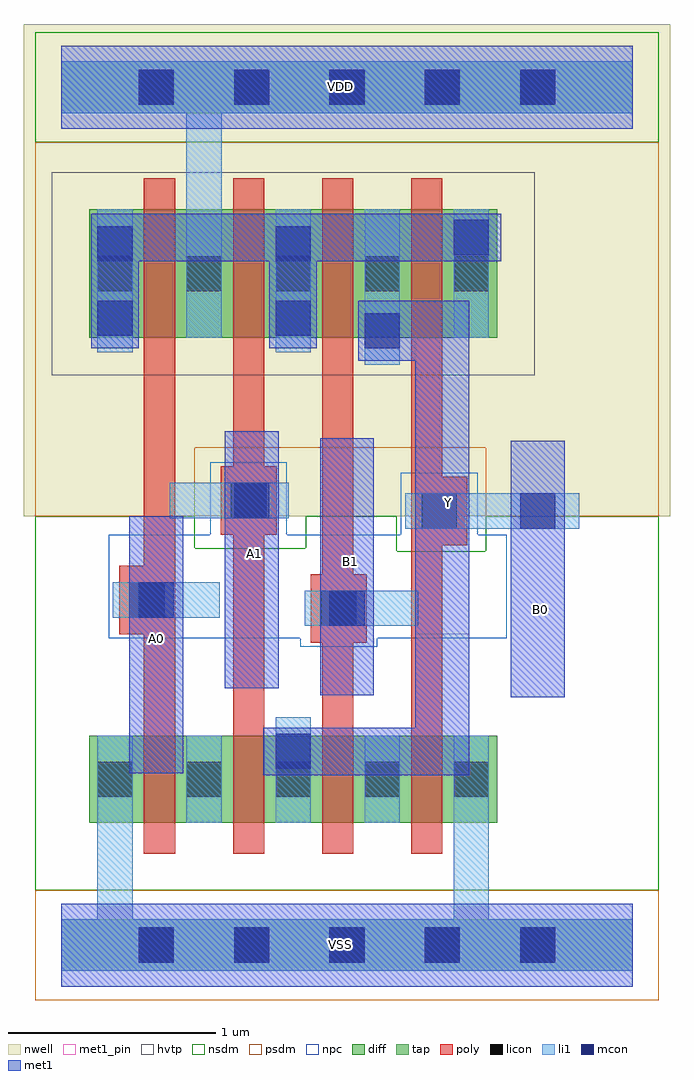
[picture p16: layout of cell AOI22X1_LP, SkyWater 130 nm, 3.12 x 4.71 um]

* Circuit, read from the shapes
.subckt AOI22X1_LP A0 A1 B0 B1 VDD VSS Y
XM1 n1 A0 VSS VSS sky130_fd_pr__nfet_01v8 w=0.42 l=0.15
XM2 Y A1 n1 VSS sky130_fd_pr__nfet_01v8 w=0.42 l=0.15
XM3 n2 B1 Y VSS sky130_fd_pr__nfet_01v8 w=0.42 l=0.15
XM4 VSS B0 n2 VSS sky130_fd_pr__nfet_01v8 w=0.42 l=0.15
XM5 VDD A0 n3 VDD sky130_fd_pr__pfet_01v8_hvt w=0.62 l=0.15
XM6 n3 A1 VDD VDD sky130_fd_pr__pfet_01v8_hvt w=0.62 l=0.15
XM7 Y B1 n3 VDD sky130_fd_pr__pfet_01v8_hvt w=0.62 l=0.15
XM8 n3 B0 Y VDD sky130_fd_pr__pfet_01v8_hvt w=0.62 l=0.15
.ends

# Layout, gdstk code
import gdstk
lib = gdstk.Library(unit=1e-6, precision=1e-09)
def R(c, l, rs):  # rectangles x0, y0, x1, y1
    for r in rs: c.add(gdstk.rectangle(r[:2], r[2:], *l))
def A(c, l, x, y, w, h, nx, ny, dx, dy):  # array of equal rectangles
    R(c, l, [(x+i*dx, y+j*dy, x+i*dx+w, y+j*dy+h) for i in range(nx) for j in range(ny)])
def P(c, l, *ps):  # polygons
    for p in ps: c.add(gdstk.Polygon(p, *l))
nwell = (64, 20)
diff = (65, 20)
tap = (65, 44)
poly = (66, 20)
licon = (66, 44)
li1 = (67, 20)
mcon = (67, 44)
met1_pin = (68, 16)
met1 = (68, 20)
hvtp = (78, 44)
nsdm = (93, 44)
psdm = (94, 20)
npc = (95, 20)

l1m1_c_cdns_750721840971 = lib.new_cell('L1M1_C_CDNS_750721840971')
R(l1m1_c_cdns_750721840971, li1, [(-0.085,-0.165,0.085,0.165)])
R(l1m1_c_cdns_750721840971, mcon, [(-0.085,-0.085,0.085,0.085)])
R(l1m1_c_cdns_750721840971, met1, [(-0.115,-0.145,0.115,0.145)])

c_l1m1_c_cdns_750721840971 = lib.new_cell('L1M1_C_CDNS_7507218409710')
R(c_l1m1_c_cdns_750721840971, li1, [(-0.085,-0.165,0.085,0.165)])
R(c_l1m1_c_cdns_750721840971, mcon, [(-0.085,-0.085,0.085,0.085)])
R(c_l1m1_c_cdns_750721840971, met1, [(-0.145,-0.115,0.145,0.115)])

licondiff_c_cdns_7507218 = lib.new_cell('LICONDIFF_C_CDNS_750721840974')
R(licondiff_c_cdns_7507218, diff, [(-0.125,-0.145,0.125,0.145)])
R(licondiff_c_cdns_7507218, licon, [(-0.085,-0.085,0.085,0.085), (-0.085,-0.085,0.085,0.085)])

pyl1con_c_cdns_750721840 = lib.new_cell('PYL1CON_C_CDNS_750721840972')
R(pyl1con_c_cdns_750721840, poly, [(-0.135,-0.165,0.135,0.165)])
R(pyl1con_c_cdns_750721840, licon, [(-0.085,-0.085,0.085,0.085)])
R(pyl1con_c_cdns_750721840, npc, [(-0.185,-0.185,0.185,0.185)])

c_l1m1_c_cdns_750721840971_ = lib.new_cell('L1M1_C_CDNS_7507218409713')
R(c_l1m1_c_cdns_750721840971_, li1, [(-0.085,-0.085,0.085,0.085)])
R(c_l1m1_c_cdns_750721840971_, mcon, [(-0.085,-0.085,0.085,0.085)])
R(c_l1m1_c_cdns_750721840971_, met1, [(-0.145,-0.115,0.145,0.115)])

l1m1_c_cdns_750721840973 = lib.new_cell('L1M1_C_CDNS_750721840973')
R(l1m1_c_cdns_750721840973, li1, [(-0.165,-0.085,0.165,0.085)])
R(l1m1_c_cdns_750721840973, mcon, [(-0.085,-0.085,0.085,0.085)])
R(l1m1_c_cdns_750721840973, met1, [(-0.115,-0.145,0.115,0.145)])

l1m1_c_cdns_750721840975 = lib.new_cell('L1M1_C_CDNS_750721840975')
R(l1m1_c_cdns_750721840975, li1, [(-0.085,-0.345,0.085,0.345)])
R(l1m1_c_cdns_750721840975, mcon, [(-0.085,-0.265,0.085,-0.095), (-0.085,0.095,0.085,0.265)])
R(l1m1_c_cdns_750721840975, met1, [(-0.115,-0.325,0.115,0.325)])

aoi22x1_lp = lib.new_cell('AOI22X1_LP')
R(aoi22x1_lp, nwell, [(-0.18,2.07,2.94,4.305), (-0.045,2.75,0.955,3.73), (0.595,2.75,1.385,3.73), (1.025,2.75,1.815,3.73), (1.455,2.75,2.285,3.73), (-0.18,3.875,2.94,4.445)])
A(aoi22x1_lp, diff, 0.4, 0.59, 0.15, 0.42, 4, 1, 0.43, 0)
A(aoi22x1_lp, diff, 0.4, 2.93, 0.15, 0.62, 4, 1, 0.43, 0)
A(aoi22x1_lp, diff, 0.55, 2.93, 0.225, 0.62, 3, 1, 0.43, 0)
A(aoi22x1_lp, diff, 0.775, 2.93, 0.055, 0.62, 3, 1, 0.43, 0)
R(aoi22x1_lp, diff, [(0.135,0.59,0.4,1.01), (0.55,0.59,0.605,1.01), (0.605,0.59,0.83,1.01), (0.98,0.59,1.205,1.01), (1.205,0.59,1.26,1.01), (1.41,0.59,1.635,1.01), (1.635,0.59,1.69,1.01), (1.84,0.59,2.105,1.01), (0.135,2.93,0.4,3.55), (1.84,2.93,2.105,3.55)])
A(aoi22x1_lp, poly, 0.4, 0.44, 0.15, 0.055, 4, 2, 0.43, 0.665)
A(aoi22x1_lp, poly, 0.4, 0.495, 0.15, 0.095, 4, 2, 0.43, 0.515)
A(aoi22x1_lp, poly, 0.4, 0.59, 0.15, 0.42, 4, 1, 0.43, 0)
A(aoi22x1_lp, poly, 0.4, 2.78, 0.15, 0.055, 4, 2, 0.43, 0.865)
A(aoi22x1_lp, poly, 0.4, 2.835, 0.15, 0.095, 4, 2, 0.43, 0.715)
A(aoi22x1_lp, poly, 0.4, 2.93, 0.15, 0.62, 4, 1, 0.43, 0)
A(aoi22x1_lp, licon, 0.375, -0.085, 0.17, 0.17, 5, 2, 0.46, 4.14)
A(aoi22x1_lp, licon, 0.175, 0.715, 0.17, 0.17, 3, 1, 0.86, 0)
A(aoi22x1_lp, licon, 0.175, 3.155, 0.17, 0.17, 5, 1, 0.43, 0)
A(aoi22x1_lp, li1, 0.175, 0.59, 0.17, 0.42, 3, 1, 0.86, 0)
A(aoi22x1_lp, li1, 0.175, 2.93, 0.17, 0.62, 5, 1, 0.43, 0)
A(aoi22x1_lp, mcon, 0.375, -0.085, 0.17, 0.17, 5, 2, 0.46, 4.14)
R(aoi22x1_lp, met1_pin, [(0.33,0.83,0.59,2.07), (2.17,1.195,2.43,2.435), (1.25,1.205,1.51,2.445), (0.79,1.24,1.05,2.48), (1.71,1.5,1.97,3.11)])
R(aoi22x1_lp, met1, [(1.435,2.82,1.97,3.11)])
R(aoi22x1_lp, hvtp, [(-0.045,2.75,0.955,3.73), (0.595,2.75,1.385,3.73), (1.025,2.75,1.815,3.73), (1.455,2.75,2.285,3.73)])
R(aoi22x1_lp, nsdm, [(-0.005,0.46,0.615,1.14), (0.595,0.46,1.215,1.14), (1.195,0.46,1.645,1.14), (1.625,0.46,2.245,1.14), (-0.125,3.875,2.885,4.405), (-0.125,3.93,2.885,4.35)])
P(aoi22x1_lp, nsdm, [(2.885,2.07),(2.05,2.07),(2.05,1.9),(1.62,1.9),(1.62,2.07),(1.18,2.07),(1.18,1.915),(0.645,1.915),(0.645,2.07),(-0.125,2.07),(-0.125,0.265),(2.885,0.265)])
R(aoi22x1_lp, psdm, [(-0.125,-0.265,2.885,0.265), (-0.125,-0.21,2.885,0.21), (-0.005,2.8,0.785,3.68), (0.765,2.8,1.215,3.68), (1.195,2.8,1.645,3.68), (1.625,2.8,2.245,3.68)])
P(aoi22x1_lp, psdm, [(2.885,3.875),(-0.125,3.875),(-0.125,2.07),(0.645,2.07),(0.645,2.4),(2.05,2.4),(2.05,2.07),(2.885,2.07)])
R(aoi22x1_lp, npc, [(0.23,1.48,2.15,1.98)])
aoi22x1_lp.add(gdstk.FlexPath([(0,0),(0.69,0)], 0.25, ends=(0, 0.085), simple_path=True, layer=67, datatype=20))  # li1
aoi22x1_lp.add(gdstk.FlexPath([(0.69,0),(2.76,0)], 0.25, ends=(0.085, 0), simple_path=True, layer=67, datatype=20))  # li1
aoi22x1_lp.add(gdstk.FlexPath([(0,4.14),(0.69,4.14)], 0.25, ends=(0, 0.085), simple_path=True, layer=67, datatype=20))  # li1
aoi22x1_lp.add(gdstk.FlexPath([(0.69,4.14),(2.76,4.14)], 0.25, ends=(0.085, 0), simple_path=True, layer=67, datatype=20))  # li1
aoi22x1_lp.add(gdstk.FlexPath([(0.755,2.145),(1.1,2.145)], 0.17, ends="flush", simple_path=True, layer=67, datatype=20))  # li1
aoi22x1_lp.add(gdstk.FlexPath([(0.26,0.59),(0.26,0)], 0.17, ends="flush", simple_path=True, layer=67, datatype=20))  # li1
aoi22x1_lp.add(gdstk.FlexPath([(1.175,1.625),(1.725,1.625)], 0.17, ends="flush", simple_path=True, layer=67, datatype=20))  # li1
aoi22x1_lp.add(gdstk.FlexPath([(2.5,2.095),(1.66,2.095)], 0.17, ends="flush", simple_path=True, layer=67, datatype=20))  # li1
aoi22x1_lp.add(gdstk.FlexPath([(1.1,2.145),(0.525,2.145)], 0.17, ends="flush", simple_path=True, layer=67, datatype=20))  # li1
aoi22x1_lp.add(gdstk.FlexPath([(0.69,3.55),(0.69,4.14)], 0.17, ends=(0, 0.125), simple_path=True, layer=67, datatype=20))  # li1
aoi22x1_lp.add(gdstk.FlexPath([(0.765,1.665),(0.25,1.665)], 0.17, ends="flush", simple_path=True, layer=67, datatype=20))  # li1
aoi22x1_lp.add(gdstk.FlexPath([(1.98,0.59),(1.98,0)], 0.17, ends="flush", simple_path=True, layer=67, datatype=20))  # li1
aoi22x1_lp.add(gdstk.FlexPath([(0.295,1.665),(0.64,1.665)], 0.17, ends="flush", simple_path=True, layer=67, datatype=20))  # li1
aoi22x1_lp.add(gdstk.FlexPath([(1.55,0.59),(1.55,1.01)], 0.17, ends="flush", simple_path=True, layer=67, datatype=20))  # li1
aoi22x1_lp.add(gdstk.FlexPath([(1.215,1.625),(1.56,1.625)], 0.17, ends="flush", simple_path=True, layer=67, datatype=20))  # li1
aoi22x1_lp.add(gdstk.FlexPath([(0.69,0.59),(0.69,1.01)], 0.17, ends="flush", simple_path=True, layer=67, datatype=20))  # li1
aoi22x1_lp.add(gdstk.FlexPath([(1.765,2.78),(1.765,1.16)], 0.15, ends="flush", simple_path=True, layer=66, datatype=20))  # poly
aoi22x1_lp.add(gdstk.FlexPath([(1.335,1.16),(1.335,2.78)], 0.15, ends="flush", simple_path=True, layer=66, datatype=20))  # poly
aoi22x1_lp.add(gdstk.FlexPath([(0.905,1.16),(0.905,2.78)], 0.15, ends="flush", simple_path=True, layer=66, datatype=20))  # poly
aoi22x1_lp.add(gdstk.FlexPath([(0.475,1.16),(0.475,2.78)], 0.15, ends="flush", simple_path=True, layer=66, datatype=20))  # poly
aoi22x1_lp.add(gdstk.FlexPath([(0,4.14),(2.76,4.14)], 0.4, ends="flush", simple_path=True, layer=68, datatype=20))  # met1
aoi22x1_lp.add(gdstk.FlexPath([(2.3,2.435),(2.3,1.195)], 0.26, ends="flush", simple_path=True, layer=68, datatype=20))  # met1
aoi22x1_lp.add(gdstk.FlexPath([(1.38,2.445),(1.38,1.205)], 0.26, ends="flush", simple_path=True, layer=68, datatype=20))  # met1
aoi22x1_lp.add(gdstk.FlexPath([(0.92,2.48),(0.92,1.24)], 0.26, ends="flush", simple_path=True, layer=68, datatype=20))  # met1
aoi22x1_lp.add(gdstk.FlexPath([(0.46,2.07),(0.46,0.83)], 0.26, ends="flush", simple_path=True, layer=68, datatype=20))  # met1
aoi22x1_lp.add(gdstk.FlexPath([(1.84,3.11),(1.84,0.965)], 0.26, ends=(0, 0.145), simple_path=True, layer=68, datatype=20))  # met1
aoi22x1_lp.add(gdstk.FlexPath([(0.26,3.415),(1.98,3.415)], 0.23, ends=(0.115, 0), simple_path=True, layer=68, datatype=20))  # met1
aoi22x1_lp.add(gdstk.FlexPath([(0.26,3.37),(0.26,3.415)], 0.23, ends=(0, 0.115), simple_path=True, layer=68, datatype=20))  # met1
aoi22x1_lp.add(gdstk.FlexPath([(1.84,0.935),(1.12,0.935)], 0.23, ends="flush", simple_path=True, layer=68, datatype=20))  # met1
aoi22x1_lp.add(gdstk.FlexPath([(0,0),(2.76,0)], 0.4, ends="flush", simple_path=True, layer=68, datatype=20))  # met1
aoi22x1_lp.add(gdstk.FlexPath([(0,0),(2.76,0)], 0.25, ends="flush", simple_path=True, layer=65, datatype=44))  # tap
aoi22x1_lp.add(gdstk.FlexPath([(0,4.14),(2.76,4.14)], 0.25, ends="flush", simple_path=True, layer=65, datatype=44))  # tap
aoi22x1_lp.add(gdstk.FlexPath([(0,4.14),(2.76,4.14)], 0.4, ends="flush", simple_path=True, layer=68, datatype=16))  # met1_pin
aoi22x1_lp.add(gdstk.FlexPath([(0,0),(2.76,0)], 0.4, ends="flush", simple_path=True, layer=68, datatype=16))  # met1_pin
aoi22x1_lp.add(gdstk.Reference(l1m1_c_cdns_750721840971, (1.55,2.965)))
aoi22x1_lp.add(gdstk.Reference(c_l1m1_c_cdns_750721840971, (1.12,0.935)))
aoi22x1_lp.add(gdstk.Reference(licondiff_c_cdns_7507218, (1.55,0.8)))
aoi22x1_lp.add(gdstk.Reference(licondiff_c_cdns_7507218, (0.69,0.8)))
aoi22x1_lp.add(gdstk.Reference(pyl1con_c_cdns_750721840, (1.34,1.625)))
aoi22x1_lp.add(gdstk.Reference(pyl1con_c_cdns_750721840, (1.825,2.095)))
aoi22x1_lp.add(gdstk.Reference(pyl1con_c_cdns_750721840, (0.905,2.145)))
aoi22x1_lp.add(gdstk.Reference(pyl1con_c_cdns_750721840, (0.415,1.665)))
aoi22x1_lp.add(gdstk.Reference(c_l1m1_c_cdns_750721840971_, (1.98,3.415)))
aoi22x1_lp.add(gdstk.Reference(l1m1_c_cdns_750721840973, (1.38,1.625)))
aoi22x1_lp.add(gdstk.Reference(l1m1_c_cdns_750721840973, (2.3,2.095)))
aoi22x1_lp.add(gdstk.Reference(l1m1_c_cdns_750721840973, (0.92,2.145)))
aoi22x1_lp.add(gdstk.Reference(l1m1_c_cdns_750721840973, (0.46,1.665)))
aoi22x1_lp.add(gdstk.Reference(l1m1_c_cdns_750721840975, (1.12,3.205)))
aoi22x1_lp.add(gdstk.Reference(l1m1_c_cdns_750721840975, (0.26,3.205)))
aoi22x1_lp.add(gdstk.Label('VDD', (1.35,4.145), layer=68, texttype=5))
aoi22x1_lp.add(gdstk.Label('Y', (1.87,2.135), layer=68, texttype=5))
aoi22x1_lp.add(gdstk.Label('A1', (0.935,1.89), layer=68, texttype=5))
aoi22x1_lp.add(gdstk.Label('A0', (0.46,1.48), layer=68, texttype=5))
aoi22x1_lp.add(gdstk.Label('B1', (1.395,1.85), layer=68, texttype=5))
aoi22x1_lp.add(gdstk.Label('B0', (2.315,1.62), layer=68, texttype=5))
aoi22x1_lp.add(gdstk.Label('VSS', (1.35,0.005), layer=68, texttype=5))

lib.write_gds('AOI22X1_LP.gds')
